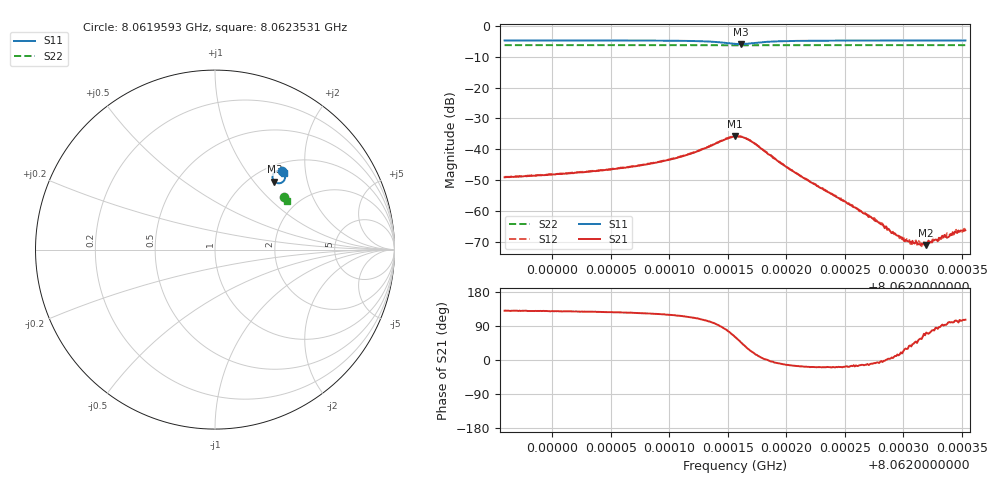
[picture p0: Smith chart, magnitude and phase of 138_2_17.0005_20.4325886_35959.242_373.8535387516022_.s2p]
#  HZ  S  RI  R  50.00
! Rohde & Schwarz Vector Network Analyzer
! Rohde-Schwarz,ZNB20-2Port,1311601062101988,3.16
! Created: UTC 3/20/2024, 10:58:14 PM
! freq[Hz]  re:S11  im:S11  re:S21  im:S21  re:S12  im:S12  re:S22  im:S22
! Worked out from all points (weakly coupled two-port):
!   401 points, 8.0619593 GHz to 8.0623531 GHz, reference 50 ohm
!   highest |S21| = -35.80 dB at 8.0621562 GHz (marker M1); lowest = -70.9 dB at 8.0623196 GHz (marker M2)
!   lowest |S11| = -6.0 dB at 8.0621611 GHz (marker M3), VSWR 3.03, Z = 63.1 + j64.2 ohm
!   |S11| at or under -10 dB: nowhere
!   |S22| runs from -6.4 to -6.3 dB; largest |S21 - S12| = 0.0012
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8.06195926e9  0.3737 0.4379  -0.00229 0.00271  -0.00218 0.00288  0.3866 0.291
8.06202522e9  0.3796 0.4321  -0.00263 0.00337  -0.00246 0.00357  0.3889 0.2876
8.06206362e9  0.3836 0.4268  -0.00295 0.00422  -0.00268 0.00445  0.3902 0.2856
8.06209119e9  0.3874 0.4205  -0.00326 0.00538  -0.00295 0.00558  0.3912 0.284
8.06211974e9  0.3908 0.4069  -0.00327 0.00807  -0.00282 0.00838  0.3921 0.282
8.0621414e9  0.3831 0.3827  -0.000641 0.0128  0.000169 0.0131  0.392 0.2802
8.06215616e9  0.3467 0.3706  0.00791 0.0142  0.00876 0.0139  0.3908 0.2796
8.06216109e9  0.3311 0.3793  0.0109 0.0117  0.0118 0.0111  0.3903 0.28
8.0621729e9  0.322 0.4152  0.0119 0.00363  0.0121 0.00285  0.3909 0.2811
8.06219751e9  0.3493 0.4392  0.00552 -0.0011  0.00548 -0.00146  0.3933 0.2806
8.06222212e9  0.3633 0.4391  0.00273 -0.000907  0.0027 -0.00107  0.3946 0.2791
8.0622743e9  0.3757 0.4344  0.000761 -0.000119  0.000728 -0.000175  0.3966 0.2764
8.06228316e9  0.3771 0.4336  0.00059 -2.27e-05  0.000578 -5.49e-05  0.3969 0.2761
8.06228809e9  0.3777 0.4331  0.000499 2.59e-05  0.000504 1.35e-05  0.3972 0.2758
8.06230187e9  0.3793 0.4321  0.000299 0.000174  0.000308 0.000117  0.3977 0.275
8.06230778e9  0.38 0.4317  0.000251 0.000221  0.000264 0.000141  0.3978 0.2748
8.06231171e9  0.3804 0.4313  0.000221 0.00022  0.000213 0.000195  0.3979 0.2745
8.06231467e9  0.3808 0.4313  0.000158 0.000239  0.000167 0.000243  0.398 0.2743
8.06231664e9  0.381 0.431  0.000137 0.000255  0.000168 0.000259  0.3982 0.2742
8.06231959e9  0.3813 0.431  8.6e-05 0.000273  9.26e-05 0.000279  0.3983 0.2741
8.0623442e9  0.3836 0.429  -0.000114 0.000459  -5.79e-05 0.000465  0.399 0.2728
8.06235306e9  0.3844 0.4285  -0.000139 0.000475  -0.000118 0.000504  0.3993 0.2724
